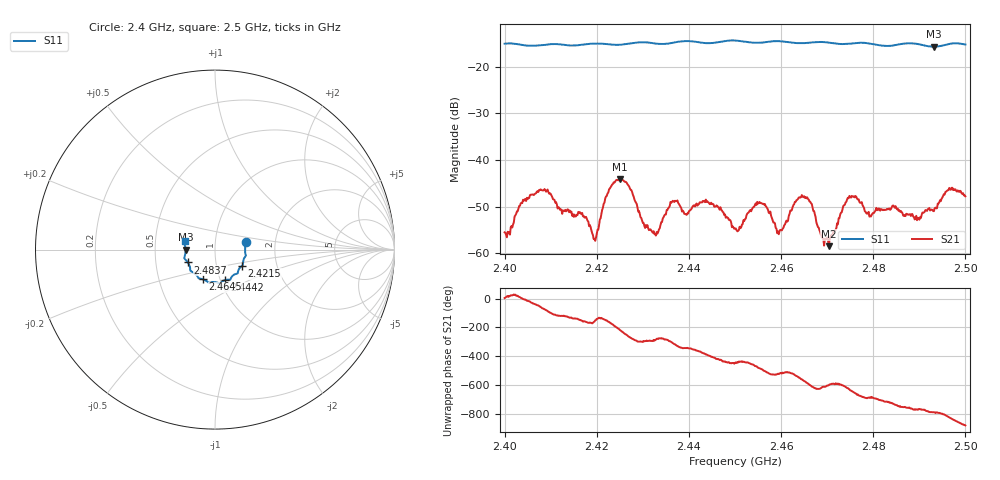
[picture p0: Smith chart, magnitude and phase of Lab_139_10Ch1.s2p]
# Hz S RI R 50
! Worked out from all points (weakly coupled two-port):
!   601 points, 2.4 GHz to 2.5 GHz, reference 50 ohm
!   highest |S21| = -44.07 dB at 2.425 GHz (marker M1); lowest = -58.5 dB at 2.4703 GHz (marker M2)
!   lowest |S11| = -15.7 dB at 2.4932 GHz (marker M3), VSWR 1.39, Z = 35.9 - j0.0577 ohm
!   |S11| at or under -10 dB: start of sweep to end of sweep
!   S12 and S22 are empty: the file has one direction only
!   S11 on the Smith chart (normalised r, x): 2.4 GHz: 1.41, +0.12; 2.4215 GHz: 1.33, -0.25; 2.4442 GHz: 1.05, -0.37; 2.4645 GHz: 0.83, -0.29; 2.4837 GHz: 0.73, -0.11; 2.5 GHz: 0.71, +0.07
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2.4e9  0.1714 0.0403  0.00167 0.00014  0 0  0 0
2.4075e9  0.1681 -0.0167  0.00297 -0.00374  0 0  0 0
2.416667e9  0.1568 -0.0697  -0.00233 -0.00125  0 0  0 0
2.4195e9  0.155 -0.0852  -0.00133 -0.000517  0 0  0 0
2.4215e9  0.1513 -0.0899  -0.00265 -0.00212  0 0  0 0
2.425e9  0.1342 -0.1072  -0.00502 0.00374  0 0  0 0
2.430333e9  0.1254 -0.1328  0.000851 0.00176  0 0  0 0
2.433333e9  0.1083 -0.1384  0.000292 0.00167  0 0  0 0
2.4365e9  0.09 -0.1564  0.00225 0.00287  0 0  0 0
2.444167e9  0.0565 -0.1694  0.00294 -0.00193  0 0  0 0
2.45e9  0.0252 -0.1891  0.000134 -0.00184  0 0  0 0
2.455333e9  -0.0109 -0.1803  -0.00194 -0.00297  0 0  0 0
2.459667e9  -0.0347 -0.1842  -0.00165 -0.000569  0 0  0 0
2.4645e9  -0.0658 -0.166  -0.00394 0.00144  0 0  0 0
2.466667e9  -0.0827 -0.162  -0.00108 0.00319  0 0  0 0
2.470333e9  -0.0944 -0.1546  -0.000577 0.00104  0 0  0 0
2.475e9  -0.123 -0.1265  0.000458 0.004  0 0  0 0
2.483333e9  -0.149 -0.075  0.00299 0.000145  0 0  0 0
2.483667e9  -0.151 -0.0717  0.00291 -7.37e-05  0 0  0 0
2.493167e9  -0.1635 -0.000781  0.00103 -0.00263  0 0  0 0
2.496667e9  -0.1729 0.0335  -0.00157 -0.00457  0 0  0 0
2.5e9  -0.1651 0.0506  -0.00386 -0.00131  0 0  0 0
